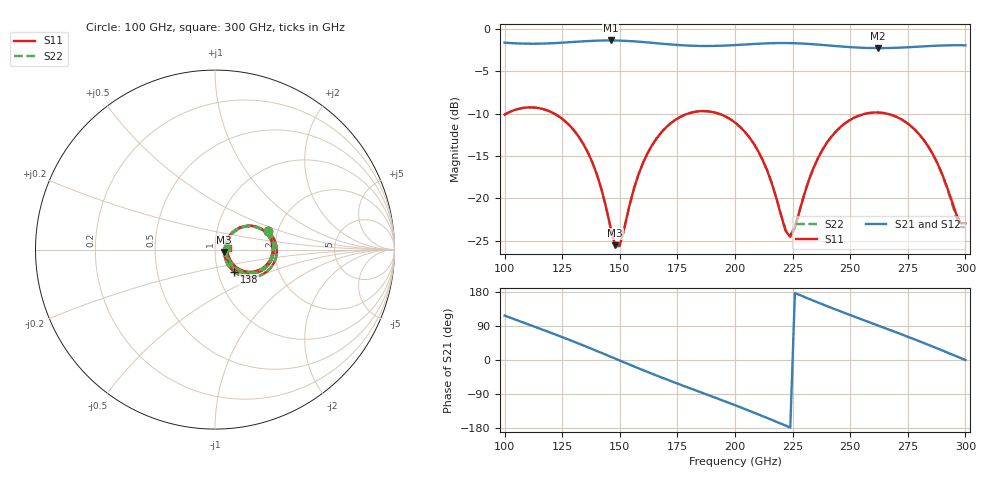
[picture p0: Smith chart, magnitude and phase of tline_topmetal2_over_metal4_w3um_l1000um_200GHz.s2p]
#  GHZ S DB R 50
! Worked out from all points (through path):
!   101 points, 100 GHz to 300 GHz, reference 50 ohm
!   highest |S21| = -1.36 dB at 146 GHz (marker M1); lowest = -2.3 dB at 262 GHz (marker M2)
!   group delay of S21, straight-line fit = 6.64 ps
!   lowest |S11| = -25.5 dB at 148 GHz (marker M3), VSWR 1.11, Z = 55.3 - j1.65 ohm
!   |S11| at or under -10 dB: 121.6 GHz to 179.5 GHz (57.97 GHz wide, 38.5 % of centre); 192.9 GHz to 256.7 GHz (63.84 GHz wide, 28.4 % of centre); 266 GHz to end of sweep (the widest 3 of 4)
!   |S22| runs from -25.6 to -9.3 dB; largest |S21 - S12| = 9.9e-14
!   S11 on the Smith chart (normalised r, x): 100 GHz: 1.77, +0.41; 138 GHz: 1.20, -0.31; 300 GHz: 1.15, +0.03
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100  -10.12 19.7  -1.62 117.3  -1.62 117.3  -10.11 19.4
108  -9.32 4.3  -1.73 99.2  -1.73 99.2  -9.32 4.0
118  -9.56 -15.0  -1.71 76.6  -1.71 76.6  -9.56 -15.4
134  -13.49 -44.0  -1.46 38.8  -1.46 38.8  -13.49 -44.4
138  -15.69 -49.0  -1.40 28.9  -1.40 28.9  -15.69 -49.4
146  -23.43 -36.4  -1.36 8.7  -1.36 8.7  -23.50 -37.2
148  -25.52 -16.3  -1.36 3.7  -1.36 3.7  -25.63 -16.8
150  -25.52 11.3  -1.38 -1.4  -1.38 -1.4  -25.64 11.2
160  -15.86 43.9  -1.54 -26.5  -1.54 -26.5  -15.87 43.8
168  -12.21 32.8  -1.74 -45.8  -1.74 -45.8  -12.22 32.7
184  -9.73 3.7  -2.00 -82.6  -2.00 -82.6  -9.73 3.5
200  -11.05 -25.8  -1.90 -119.2  -1.90 -119.2  -11.04 -25.9
212  -15.46 -43.2  -1.72 -148.2  -1.72 -148.2  -15.45 -43.2
222  -23.86 -19.0  -1.66 -173.2  -1.66 -173.2  -23.71 -18.9
224  -24.54 2.5  -1.67 -178.3  -1.67 -178.3  -24.35 2.0
234  -16.47 43.3  -1.80 156.7  -1.80 156.7  -16.43 42.4
248  -11.09 24.7  -2.11 123.2  -2.11 123.2  -11.08 23.9
262  -9.86 -0.4  -2.26 91.2  -2.26 91.2  -9.86 -1.2
268  -10.15 -11.1  -2.24 77.6  -2.24 77.6  -10.15 -12.1
284  -13.91 -36.3  -2.02 39.8  -2.02 39.8  -13.94 -37.8
298  -22.93 -8.6  -1.92 5.0  -1.92 5.0  -23.38 -10.0
300  -22.94 8.9  -1.93 0.0  -1.93 0.0  -23.41 8.7
